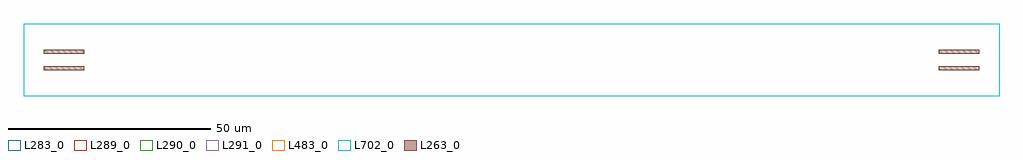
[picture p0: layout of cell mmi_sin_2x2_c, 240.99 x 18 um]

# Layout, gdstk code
import gdstk
lib = gdstk.Library(unit=1e-6, precision=1e-09)
def R(c, l, rs):  # rectangles x0, y0, x1, y1
    for r in rs: c.add(gdstk.rectangle(r[:2], r[2:], *l))
L263_0 = (263, 0)
L283_0 = (283, 0)
L289_0 = (289, 0)
L290_0 = (290, 0)
L291_0 = (291, 0)
L483_0 = (483, 0)
L702_0 = (702, 0)

mmi_sin_2x2_c = lib.new_cell('mmi_sin_2x2_c')
R(mmi_sin_2x2_c, L263_0, [(-40.5,0.5,-30.5,1.5), (180.5,0.5,190.5,1.5), (-40.5,4.5,-30.5,5.5), (180.5,4.5,190.5,5.5)])
R(mmi_sin_2x2_c, L283_0, [(-45.5,-6,195.492,12)])
R(mmi_sin_2x2_c, L289_0, [(-45.5,-6,195.492,12)])
R(mmi_sin_2x2_c, L290_0, [(-45.5,-6,195.492,12)])
R(mmi_sin_2x2_c, L291_0, [(-45.5,-6,195.492,12)])
R(mmi_sin_2x2_c, L483_0, [(-45.5,-6,195.492,12)])
R(mmi_sin_2x2_c, L702_0, [(-45.5,-6,195.492,12)])

lib.write_gds('mmi_sin_2x2_c.gds')
